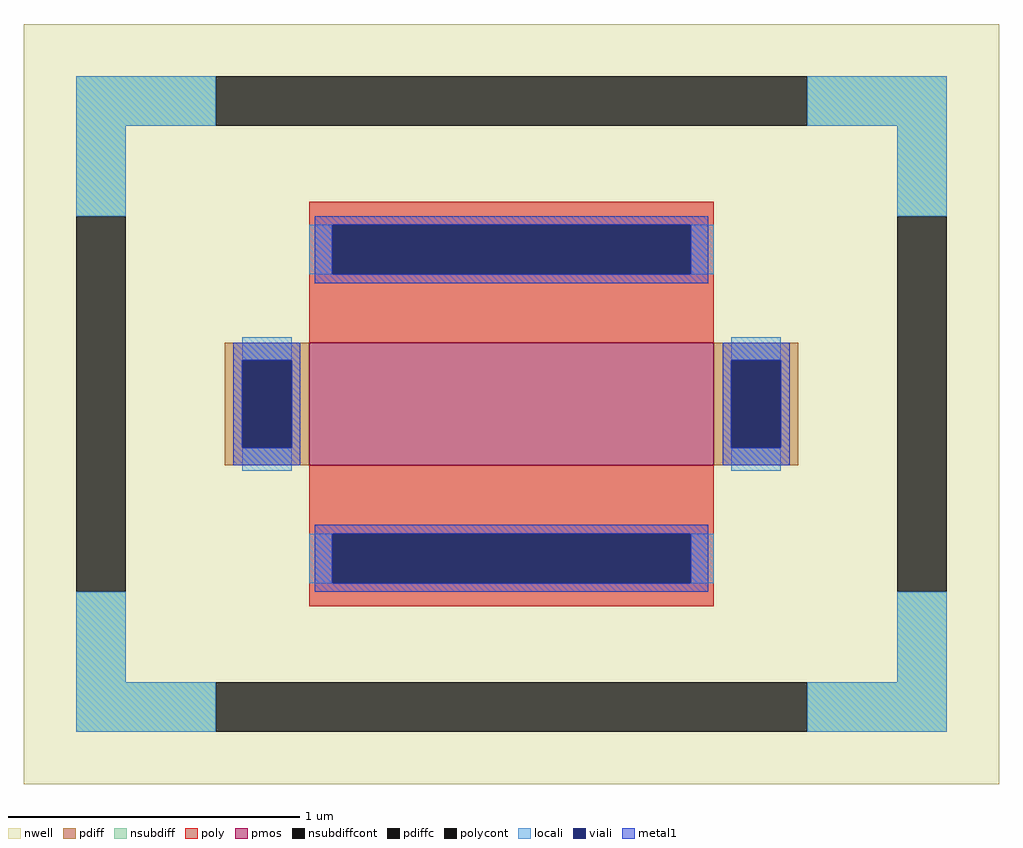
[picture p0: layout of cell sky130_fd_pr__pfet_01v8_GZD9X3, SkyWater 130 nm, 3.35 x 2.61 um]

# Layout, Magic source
magic
tech sky130A
magscale 1 2
<< nwell >>
rect -335 -261 335 261
<< pmos >>
rect -139 -42 139 42
<< pdiff >>
rect -197 30 -139 42
rect -197 -30 -185 30
rect -151 -30 -139 30
rect -197 -42 -139 -30
rect 139 30 197 42
rect 139 -30 151 30
rect 185 -30 197 30
rect 139 -42 197 -30
<< pdiffc >>
rect -185 -30 -151 30
rect 151 -30 185 30
<< nsubdiff >>
rect -299 191 -203 225
rect 203 191 299 225
rect -299 129 -265 191
rect 265 129 299 191
rect -299 -191 -265 -129
rect 265 -191 299 -129
rect -299 -225 -203 -191
rect 203 -225 299 -191
<< nsubdiffcont >>
rect -203 191 203 225
rect -299 -129 -265 129
rect 265 -129 299 129
rect -203 -225 203 -191
<< poly >>
rect -139 123 139 139
rect -139 89 -123 123
rect 123 89 139 123
rect -139 42 139 89
rect -139 -89 139 -42
rect -139 -123 -123 -89
rect 123 -123 139 -89
rect -139 -139 139 -123
<< polycont >>
rect -123 89 123 123
rect -123 -123 123 -89
<< locali >>
rect -299 191 -203 225
rect 203 191 299 225
rect -299 129 -265 191
rect 265 129 299 191
rect -139 89 -123 123
rect 123 89 139 123
rect -185 30 -151 46
rect -185 -46 -151 -30
rect 151 30 185 46
rect 151 -46 185 -30
rect -139 -123 -123 -89
rect 123 -123 139 -89
rect -299 -191 -265 -129
rect 265 -191 299 -129
rect -299 -225 -203 -191
rect 203 -225 299 -191
<< viali >>
rect -123 89 123 123
rect -185 -30 -151 30
rect 151 -30 185 30
rect -123 -123 123 -89
<< metal1 >>
rect -135 123 135 129
rect -135 89 -123 123
rect 123 89 135 123
rect -135 83 135 89
rect -191 30 -145 42
rect -191 -30 -185 30
rect -151 -30 -145 30
rect -191 -42 -145 -30
rect 145 30 191 42
rect 145 -30 151 30
rect 185 -30 191 30
rect 145 -42 191 -30
rect -135 -89 135 -83
rect -135 -123 -123 -89
rect 123 -123 135 -89
rect -135 -129 135 -123
<< properties >>
string FIXED_BBOX -282 -208 282 208
string gencell sky130_fd_pr__pfet_01v8
string library sky130
string parameters w 0.42 l 1.39 m 1 nf 1 diffcov 100 polycov 100 guard 1 glc 1 grc 1 gtc 1 gbc 1 tbcov 100 rlcov 100 topc 1 botc 1 poverlap 0 doverlap 1 lmin 0.15 wmin 0.42 compatible {sky130_fd_pr__pfet_01v8  sky130_fd_pr__pfet_01v8_lvt sky130_fd_pr__pfet_01v8_hvt  sky130_fd_pr__pfet_g5v0d10v5} full_metal 1 viasrc 100 viadrn 100 viagate 100 viagb 0 viagr 0 viagl 0 viagt 0
<< end >>
